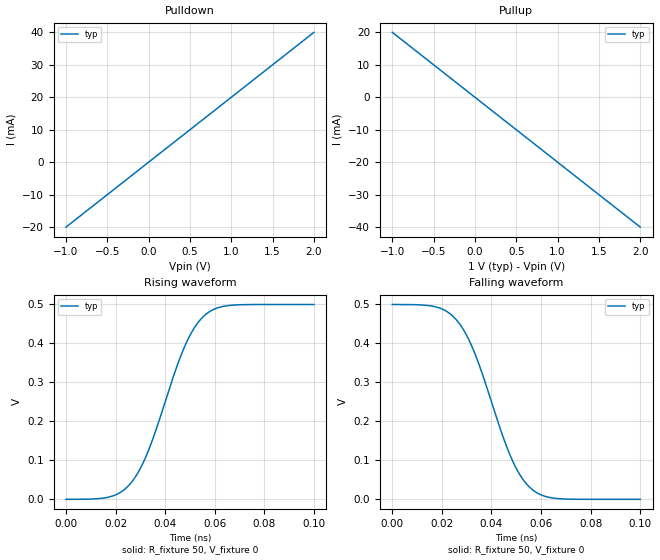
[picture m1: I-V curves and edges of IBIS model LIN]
[IBIS Ver] 4.2
[File Name] essai.ibs
[Component] ESSAI
[Pin] signal_name model_name R_pin L_pin C_pin
A1 DP LIN
A2 DN LIN
B1 SIG LIN
G1 GND GND
[Diff Pin] inv_pin vdiff tdelay_typ tdelay_min tdelay_max
A1 A2 0.1V 0 0 0
[Package Model] PKG_V
[Define Package Model] PKG_V
[Number Of Pins] 4
[Pin Numbers]
A1
A2
B1
G1
[Model Data]
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[End Model Data]
[End Package Model]
| Models and submodels in the file (1): LIN (I/O)
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[Model] LIN
Model_type I/O
C_comp 0p 0p 0p
[Voltage Range] 1 1 1
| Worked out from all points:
|   slope of the pulldown table from 0 to 0.15 V, typ, clamps not added: 50 ohm
|   slope of the pullup table from 0 to 0.15 V, typ, clamps not added: 50 ohm
|   rising waveform, R_fixture 50, V_fixture 0: 20-80 % time 16.8ps typ, NA min, NA max; typ from 0 V to 0.5 V
|   falling waveform, R_fixture 50, V_fixture 0: 20-80 % time 16.8ps typ, NA min, NA max; typ from 0.5 V to 0 V
[Pulldown]
-1V       -20mA      NA         NA
-500mV    -10mA      NA         NA
0V        0A         NA         NA
500mV     10mA       NA         NA
1V        20mA       NA         NA
1.5V      30mA       NA         NA
2V        40mA       NA         NA
[Pullup]
-1V       20mA       NA         NA
-500mV    10mA       NA         NA
0V        0A         NA         NA
500mV     -10mA      NA         NA
1V        -20mA      NA         NA
1.5V      -30mA      NA         NA
2V        -40mA      NA         NA
[Rising Waveform]
R_fixture = 50
V_fixture = 0
0s        15.84uV    NA         NA
18ps      6.952mV    NA         NA
23ps      22.28mV    NA         NA
27ps      48.4mV     NA         NA
34ps      137.1mV    NA         NA
48ps      394.1mV    NA         NA
52ps      442.5mV    NA         NA
56.5ps    475.3mV    NA         NA
66.5ps    498mV      NA         NA
100ps     500mV      NA         NA
[Falling Waveform]
R_fixture = 50
V_fixture = 0
0s        500mV      NA         NA
18ps      493mV      NA         NA
23ps      477.7mV    NA         NA
27ps      451.6mV    NA         NA
34ps      362.9mV    NA         NA
48ps      105.9mV    NA         NA
52ps      57.53mV    NA         NA
56.5ps    24.74mV    NA         NA
66.5ps    2.012mV    NA         NA
100ps     493.3pV    NA         NA
